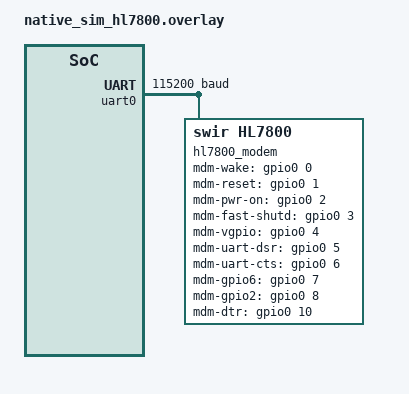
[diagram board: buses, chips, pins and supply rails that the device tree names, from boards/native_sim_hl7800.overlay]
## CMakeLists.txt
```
# SPDX-FileCopyrightText: Copyright The Zephyr Project Contributors
# SPDX-FileCopyrightText: Copyright (c) 2026 Netfeasa Ltd.
# SPDX-License-Identifier: Apache-2.0

cmake_minimum_required(VERSION 3.28.0)

find_package(Zephyr REQUIRED HINTS $ENV{ZEPHYR_BASE})
project(hl78xx_build)

target_sources(app PRIVATE src/main.c)
```

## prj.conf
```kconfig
# SPDX-FileCopyrightText: Copyright The Zephyr Project Contributors
# SPDX-FileCopyrightText: Copyright (c) 2026 Netfeasa Ltd.
# SPDX-License-Identifier: Apache-2.0

CONFIG_GPIO=y
CONFIG_SERIAL=y
CONFIG_UART_ASYNC_API=y
CONFIG_NETWORKING=y
CONFIG_NET_SOCKETS=y
CONFIG_PM_DEVICE=y
CONFIG_NET_IPV4=y

CONFIG_MODEM=y
CONFIG_MODEM_BACKEND_UART=y
CONFIG_MODEM_CHAT=y

CONFIG_MODEM_HL78XX=y
CONFIG_MODEM_HL7800=n
```

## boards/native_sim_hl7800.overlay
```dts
/*
 * SPDX-FileCopyrightText: Copyright The Zephyr Project Contributors
 * SPDX-FileCopyrightText: Copyright (c) 2026 Netfeasa Ltd.
 * SPDX-License-Identifier: Apache-2.0
 */

#include <zephyr/dt-bindings/gpio/gpio.h>

/ {
	aliases {
		modem = &hl7800_modem;
	};
};

&uart0 {
	current-speed = <115200>;
	status = "okay";

	hl7800_modem: modem {
		compatible = "swir,hl7800";
		mdm-wake-gpios = <&gpio0 0 GPIO_ACTIVE_HIGH>;
		mdm-reset-gpios = <&gpio0 1 GPIO_ACTIVE_HIGH>;
		mdm-pwr-on-gpios = <&gpio0 2 GPIO_ACTIVE_HIGH>;
		mdm-fast-shutd-gpios = <&gpio0 3 GPIO_ACTIVE_HIGH>;
		mdm-vgpio-gpios = <&gpio0 4 GPIO_ACTIVE_HIGH>;
		mdm-uart-dsr-gpios = <&gpio0 5 GPIO_ACTIVE_HIGH>;
		mdm-uart-cts-gpios = <&gpio0 6 GPIO_ACTIVE_HIGH>;
		mdm-gpio6-gpios = <&gpio0 7 GPIO_ACTIVE_HIGH>;
		mdm-gpio2-gpios = <&gpio0 8 GPIO_ACTIVE_HIGH>;
		mdm-dtr-gpios = <&gpio0 10 GPIO_ACTIVE_HIGH>;
		status = "okay";

		test_hl7800_socket_offload: socket_offload {
			compatible = "swir,hl7800-offload", "swir,hl78xx-offload";
			max-data-length = <512>;
		};

		test_hl7800_gnss: hl_gnss {
			compatible = "swir,hl7800-gnss", "swir,hl78xx-gnss";
			pps-mode = "GNSS_PPS_MODE_DISABLED";
			fix-rate = <1000>;
		};
	};
};
```

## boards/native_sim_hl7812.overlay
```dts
/*
 * SPDX-FileCopyrightText: Copyright The Zephyr Project Contributors
 * SPDX-FileCopyrightText: Copyright (c) 2026 Netfeasa Ltd.
 * SPDX-License-Identifier: Apache-2.0
 */

#include <zephyr/dt-bindings/gpio/gpio.h>

/ {
	aliases {
		modem = &hl7812_modem;
	};
};

&uart0 {
	status = "okay";
	current-speed = <115200>;

	hl7812_modem: modem {
		compatible = "swir,hl7812";
		status = "okay";
		mdm-pwr-on-gpios = <&gpio0 0 GPIO_ACTIVE_HIGH>;
		mdm-fast-shutd-gpios = <&gpio0 1 GPIO_ACTIVE_HIGH>;
		mdm-vgpio-gpios = <&gpio0 2 GPIO_ACTIVE_HIGH>;
		mdm-uart-dsr-gpios = <&gpio0 3 GPIO_ACTIVE_HIGH>;
		mdm-uart-cts-gpios = <&gpio0 4 GPIO_ACTIVE_HIGH>;
		mdm-gpio6-gpios = <&gpio0 5 GPIO_ACTIVE_HIGH>;
		mdm-gpio8-gpios = <&gpio0 6 GPIO_ACTIVE_HIGH>;
		mdm-reset-gpios = <&gpio0 7 GPIO_ACTIVE_HIGH>;
		mdm-wake-gpios = <&gpio0 8 GPIO_ACTIVE_HIGH>;
		mdm-dtr-gpios = <&gpio0 10 GPIO_ACTIVE_HIGH>;

		test_hl7812_socket_offload: socket_offload {
			compatible = "swir,hl7812-offload";
			max-data-length = <512>;
		};

		test_hl7812_gnss: hl_gnss {
			compatible = "swir,hl7812-gnss";
			pps-mode = "GNSS_PPS_MODE_DISABLED";
			fix-rate = <1000>;
		};
	};
};
```

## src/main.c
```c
/*
 * SPDX-FileCopyrightText: Copyright The Zephyr Project Contributors
 * SPDX-FileCopyrightText: Copyright (c) 2026 Netfeasa Ltd.
 * SPDX-License-Identifier: Apache-2.0
 */

#include <zephyr/kernel.h>

/**
 * @brief Minimal HL78XX build coverage application.
 *
 * The test scenarios intentionally exercise Kconfig/devicetree combinations
 * for the HL7800 and HL7812 modem variants. No runtime modem interaction is
 * required.
 */
int main(void)
{
	return 0;
}
```
